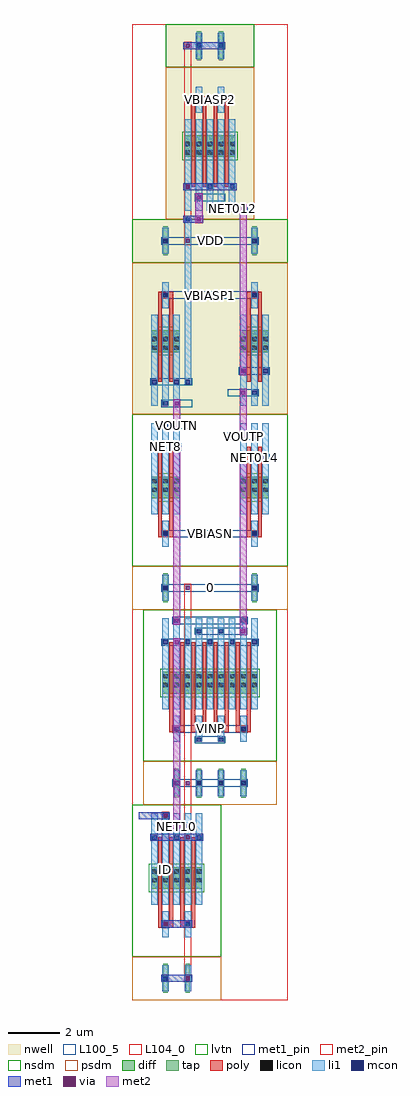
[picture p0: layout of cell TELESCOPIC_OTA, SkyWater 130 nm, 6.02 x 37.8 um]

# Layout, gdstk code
import gdstk
lib = gdstk.Library(unit=1e-6, precision=1e-09)
def R(c, l, rs):  # rectangles x0, y0, x1, y1
    for r in rs: c.add(gdstk.rectangle(r[:2], r[2:], *l))
def A(c, l, x, y, w, h, nx, ny, dx, dy):  # array of equal rectangles
    R(c, l, [(x+i*dx, y+j*dy, x+i*dx+w, y+j*dy+h) for i in range(nx) for j in range(ny)])
nwell = (64, 20)
diff = (65, 20)
tap = (65, 44)
poly = (66, 20)
licon = (66, 44)
li1 = (67, 20)
mcon = (67, 44)
met1_pin = (68, 16)
met1 = (68, 20)
via = (68, 44)
met2_pin = (69, 16)
met2 = (69, 20)
nsdm = (93, 44)
psdm = (94, 20)
L100_5 = (100, 5)
L104_0 = (104, 0)
lvtn = (125, 44)

telescopic_ota = lib.new_cell('TELESCOPIC_OTA')
R(telescopic_ota, nwell, [(0,22.68,6.02,30.24), (1.29,30.24,4.73,37.8)])
R(telescopic_ota, diff, [(0.735,4.305,2.705,5.145), (1.165,11.865,4.855,12.705), (0.735,19.425,1.845,20.265), (4.175,19.425,5.285,20.265), (0.735,25.095,1.845,25.935), (4.175,25.095,5.285,25.935), (2.025,32.655,3.995,33.495)])
A(telescopic_ota, tap, 1.635, 7.84, 0.17, 1.12, 4, 1, 0.86, 0)
R(telescopic_ota, tap, [(1.205,0.28,1.375,1.4), (2.065,0.28,2.235,1.4), (1.205,15.4,1.375,16.52), (4.645,15.4,4.815,16.52), (1.205,28.84,1.375,29.96), (4.645,28.84,4.815,29.96), (2.495,36.4,2.665,37.52), (3.355,36.4,3.525,37.52)])
A(telescopic_ota, poly, 1, 2.94, 0.15, 3.36, 4, 1, 0.43, 0)
A(telescopic_ota, poly, 1.43, 10.365, 0.58, 0.27, 4, 1, 0.86, 0)
A(telescopic_ota, poly, 1.43, 10.5, 0.15, 3.36, 8, 1, 0.43, 0)
A(telescopic_ota, poly, 2.29, 31.5, 0.15, 3.36, 4, 1, 0.43, 0)
R(telescopic_ota, poly, [(1,2.805,1.58,3.075), (1.86,2.805,2.44,3.075), (1,17.925,1.58,18.195), (4.44,17.925,5.02,18.195), (1,18.06,1.15,21.42), (1.43,18.06,1.58,21.42), (4.44,18.06,4.59,21.42), (4.87,18.06,5.02,21.42), (1,23.94,1.15,27.3), (1.43,23.94,1.58,27.3), (4.44,23.94,4.59,27.3), (4.87,23.94,5.02,27.3), (1,27.165,1.58,27.435), (4.44,27.165,5.02,27.435), (2.29,34.725,2.87,34.995), (3.15,34.725,3.73,34.995)])
A(telescopic_ota, licon, 0.775, 4.555, 0.17, 0.17, 3, 2, 0.43, 0.34)
A(telescopic_ota, licon, 1.635, 4.555, 0.17, 0.17, 3, 2, 0.43, 0.34)
A(telescopic_ota, licon, 1.635, 8.315, 0.17, 0.17, 4, 2, 0.86, 2.1)
A(telescopic_ota, licon, 1.205, 12.115, 0.17, 0.17, 3, 2, 0.43, 0.34)
A(telescopic_ota, licon, 2.065, 12.115, 0.17, 0.17, 3, 2, 0.43, 0.34)
A(telescopic_ota, licon, 2.925, 12.115, 0.17, 0.17, 3, 2, 0.43, 0.34)
A(telescopic_ota, licon, 3.785, 12.115, 0.17, 0.17, 3, 2, 0.43, 0.34)
A(telescopic_ota, licon, 0.775, 19.675, 0.17, 0.17, 3, 2, 0.43, 0.34)
A(telescopic_ota, licon, 4.215, 19.675, 0.17, 0.17, 3, 2, 0.43, 0.34)
A(telescopic_ota, licon, 0.775, 25.175, 0.17, 0.17, 3, 2, 0.43, 0.34)
A(telescopic_ota, licon, 4.215, 25.175, 0.17, 0.17, 3, 2, 0.43, 0.34)
A(telescopic_ota, licon, 2.065, 32.735, 0.17, 0.17, 3, 2, 0.43, 0.34)
A(telescopic_ota, licon, 2.925, 32.735, 0.17, 0.17, 3, 2, 0.43, 0.34)
R(telescopic_ota, licon, [(1.205,0.755,1.375,0.925), (2.065,0.755,2.235,0.925), (1.205,2.855,1.375,3.025), (2.065,2.855,2.235,3.025), (1.205,15.875,1.375,16.045), (4.645,15.875,4.815,16.045), (1.205,17.975,1.375,18.145), (4.645,17.975,4.815,18.145), (1.205,27.215,1.375,27.385), (4.645,27.215,4.815,27.385), (1.205,29.315,1.375,29.485), (4.645,29.315,4.815,29.485), (2.495,34.775,2.665,34.945), (3.355,34.775,3.525,34.945), (2.495,36.875,2.665,37.045), (3.355,36.875,3.525,37.045)])
A(telescopic_ota, li1, 0.735, 3.695, 0.25, 3.53, 5, 1, 0.43, 0)
A(telescopic_ota, li1, 1.595, 7.895, 0.25, 1.01, 4, 2, 0.86, 2.1)
A(telescopic_ota, li1, 1.165, 11.255, 0.25, 3.53, 9, 1, 0.43, 0)
A(telescopic_ota, li1, 0.735, 18.815, 0.25, 3.53, 3, 2, 0.43, 4.2)
A(telescopic_ota, li1, 4.175, 18.815, 0.25, 3.53, 3, 2, 0.43, 4.2)
A(telescopic_ota, li1, 2.025, 30.575, 0.25, 3.53, 5, 1, 0.43, 0)
R(telescopic_ota, li1, [(1.165,0.335,1.415,1.345), (2.025,0.335,2.275,1.345), (1.165,2.435,1.415,3.445), (2.025,2.435,2.275,3.445), (1.165,15.455,1.415,16.465), (4.605,15.455,4.855,16.465), (1.165,17.555,1.415,18.565), (4.605,17.555,4.855,18.565), (2.025,23.855,2.275,30.325), (1.165,26.795,1.415,27.805), (4.605,26.795,4.855,27.805), (1.165,28.895,1.415,29.905), (4.605,28.895,4.855,29.905), (2.455,34.355,2.705,35.365), (3.315,34.355,3.565,35.365), (2.455,36.455,2.705,37.465), (3.315,36.455,3.565,37.465)])
A(telescopic_ota, mcon, 0.775, 6.215, 0.17, 0.17, 3, 1, 0.86, 0)
A(telescopic_ota, mcon, 1.635, 8.315, 0.17, 0.17, 4, 1, 0.86, 0)
A(telescopic_ota, mcon, 1.205, 13.775, 0.17, 0.17, 5, 1, 0.86, 0)
A(telescopic_ota, mcon, 2.065, 31.415, 0.17, 0.17, 3, 1, 0.86, 0)
R(telescopic_ota, mcon, [(1.205,0.755,1.375,0.925), (2.065,0.755,2.235,0.925), (1.205,2.855,1.375,3.025), (2.065,2.855,2.235,3.025), (2.065,6.635,2.235,6.805), (1.205,7.055,1.375,7.225), (2.495,9.995,2.665,10.165), (3.355,9.995,3.525,10.165), (1.635,10.415,1.805,10.585), (4.215,10.415,4.385,10.585), (2.495,14.195,2.665,14.365), (3.355,14.195,3.525,14.365), (1.635,14.615,1.805,14.785), (4.215,14.615,4.385,14.785), (1.205,15.875,1.375,16.045), (4.645,15.875,4.815,16.045), (1.205,17.975,1.375,18.145), (4.645,17.975,4.815,18.145), (4.215,20.915,4.385,21.085), (5.075,20.915,5.245,21.085), (0.775,21.335,0.945,21.505), (1.635,21.335,1.805,21.505), (4.645,21.755,4.815,21.925), (1.205,22.175,1.375,22.345), (1.205,23.015,1.375,23.185), (4.645,23.435,4.815,23.605), (0.775,23.855,0.945,24.025), (1.635,23.855,1.805,24.025), (2.065,23.855,2.235,24.025), (4.215,24.275,4.385,24.445), (5.075,24.275,5.245,24.445), (1.205,27.215,1.375,27.385), (4.645,27.215,4.815,27.385), (1.205,29.315,1.375,29.485), (4.645,29.315,4.815,29.485), (2.065,30.155,2.235,30.325), (3.355,30.575,3.525,30.745), (2.495,30.995,2.665,31.165), (2.495,34.775,2.665,34.945), (3.355,34.775,3.525,34.945), (2.495,36.875,2.665,37.045), (3.355,36.875,3.525,37.045)])
A(telescopic_ota, met1_pin, 1.12, 13.72, 3.78, 0.28, 1, 3, 0, 2.1)
R(telescopic_ota, met1_pin, [(1.12,6.58,2.32,6.86), (1.55,8.26,4.47,8.54), (2.41,9.94,3.61,10.22), (1.55,10.36,4.47,10.64), (2.41,14.14,4.46,14.42), (1.55,14.56,4.47,14.84), (4.13,20.86,5.33,21.14), (0.69,21.28,1.89,21.56), (3.7,21.7,4.9,21.98), (1.12,22.12,2.32,22.4), (1.12,22.96,2.32,23.24), (3.7,23.38,4.9,23.66), (0.69,23.8,2.32,24.08), (4.13,24.22,5.33,24.5), (1.12,27.16,4.9,27.44), (1.12,29.26,4.9,29.54), (3.27,30.52,4.47,30.8), (2.41,30.94,3.61,31.22), (2.41,34.72,3.61,35)])
R(telescopic_ota, met1, [(1.12,0.7,2.32,0.98), (1.12,2.8,2.32,3.08), (0.69,6.16,2.75,6.44), (0.26,7,1.46,7.28), (1.98,30.1,2.74,30.38), (1.98,31.36,4.04,31.64), (1.98,36.82,3.61,37.1)])
A(telescopic_ota, via, 1.645, 21.345, 0.15, 0.15, 1, 3, 0, 0.84)
R(telescopic_ota, via, [(2.075,0.765,2.225,0.915), (1.215,2.865,1.365,3.015), (2.075,6.225,2.225,6.375), (1.645,6.645,1.795,6.795), (1.215,7.065,1.365,7.215), (2.075,8.325,2.225,8.475), (1.645,13.785,1.795,13.935), (4.225,14.205,4.375,14.355), (1.645,14.625,1.795,14.775), (2.075,15.885,2.225,16.035), (4.225,20.925,4.375,21.075), (4.225,21.765,4.375,21.915), (4.225,23.445,4.375,23.595), (4.225,24.285,4.375,24.435), (2.075,29.325,2.225,29.475), (2.505,30.165,2.655,30.315), (4.225,30.585,4.375,30.735), (2.505,31.005,2.655,31.155), (2.075,31.425,2.225,31.575), (2.075,36.885,2.225,37.035)])
R(telescopic_ota, met2_pin, [(2.01,0.68,2.29,16.12), (1.15,2.78,1.43,7.3), (2.01,29.24,2.29,37.12)])
R(telescopic_ota, met2, [(1.58,6.56,1.86,14.02), (4.16,14.12,4.44,21.16), (1.58,14.54,1.86,21.58), (4.16,21.68,4.44,23.68), (1.58,22.1,1.86,23.26), (4.16,24.2,4.44,30.82), (2.44,30.08,2.72,31.24)])
R(telescopic_ota, nsdm, [(0,1.68,3.44,7.56), (0.43,9.24,5.59,15.12), (0,16.8,6.02,22.68), (0,28.56,6.02,30.24), (1.29,36.12,4.73,37.8)])
R(telescopic_ota, psdm, [(0,0,3.44,1.68), (0.43,7.56,5.59,9.24), (0,15.12,6.02,16.8), (0,22.68,6.02,28.56), (1.29,30.24,4.73,36.12)])
R(telescopic_ota, L100_5, [(0,0,6.02,37.8)])
R(telescopic_ota, L104_0, [(0,0,6.02,37.8)])
R(telescopic_ota, lvtn, [(0.645,4.175,2.795,5.275), (1.075,11.735,4.945,12.835), (1,19.295,1.58,20.395), (4.44,19.295,5.02,20.395), (1,24.965,1.58,26.065), (4.44,24.965,5.02,26.065), (1.935,32.525,4.085,33.625)])
telescopic_ota.add(gdstk.Label('NET10', (1.72,6.72), layer=68, texttype=5))
telescopic_ota.add(gdstk.Label('NET012', (3.87,30.66), layer=68, texttype=5))
telescopic_ota.add(gdstk.Label('NET06', (3.01,31.08), layer=68, texttype=5))
telescopic_ota.add(gdstk.Label('VBIASP2', (3.01,34.86), layer=68, texttype=5))
telescopic_ota.add(gdstk.Label('VOUTN', (1.72,22.26), layer=68, texttype=5))
telescopic_ota.add(gdstk.Label('VOUTP', (4.3,21.84), layer=68, texttype=5))
telescopic_ota.add(gdstk.Label('NET8', (1.29,21.42), layer=68, texttype=5))
telescopic_ota.add(gdstk.Label('NET014', (4.73,21), layer=68, texttype=5))
telescopic_ota.add(gdstk.Label('VBIASN', (3.01,18.06), layer=68, texttype=5))
telescopic_ota.add(gdstk.Label('0', (3.01,15.96), layer=68, texttype=5))
telescopic_ota.add(gdstk.Label('VBIASP1', (3.01,27.3), layer=68, texttype=5))
telescopic_ota.add(gdstk.Label('VDD', (3.01,29.4), layer=68, texttype=5))
telescopic_ota.add(gdstk.Label('VINP', (3.01,10.5), layer=68, texttype=5))
telescopic_ota.add(gdstk.Label('VINN', (3.01,10.08), layer=68, texttype=5))
telescopic_ota.add(gdstk.Label('ID', (1.29,5.04), layer=69, texttype=5))

lib.write_gds('TELESCOPIC_OTA.gds')
